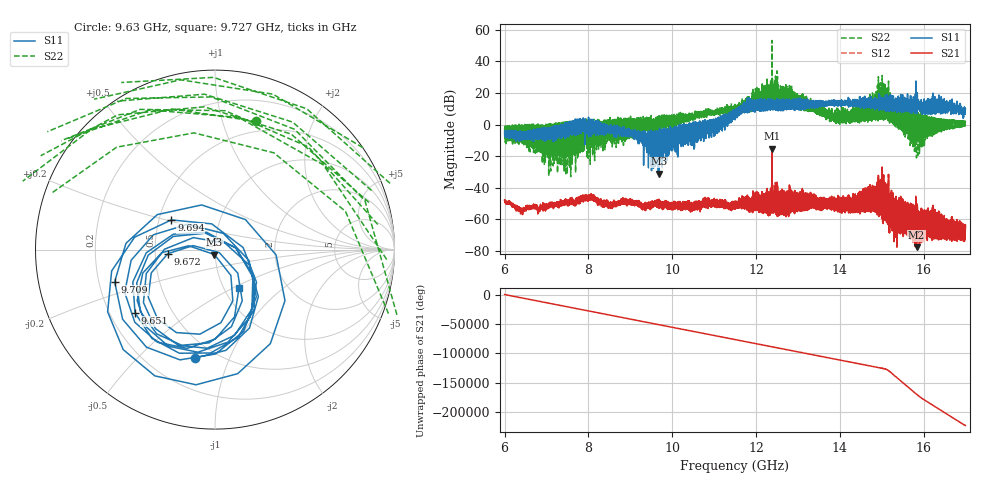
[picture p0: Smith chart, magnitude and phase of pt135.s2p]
#  HZ  S  RI  R  50.00
! Rohde & Schwarz Vector Network Analyzer
! Rohde-Schwarz,ZNA67-2Port,1332450062101215,3.01
! Created: UTC 10/19/2026, 6:01:01 PM
! freq[Hz]  re:S11  im:S11  re:S21  im:S21  re:S12  im:S12  re:S22  im:S22
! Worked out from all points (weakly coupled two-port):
!   11001 points, 6 GHz to 17 GHz, reference 50 ohm
!   highest |S21| = -15.28 dB at 12.38 GHz (marker M1); lowest = -77.7 dB at 15.83 GHz (marker M2)
!   lowest |S11| = -31.1 dB at 9.681 GHz (marker M3), VSWR 1.06, Z = 49.6 - j2.74 ohm
!   |S11| at or under -10 dB: 9.386579 GHz to 9.391344 GHz (4.765 MHz wide, 0.0508 % of centre); 9.398521 GHz to 9.403056 GHz (4.535 MHz wide, 0.0482 % of centre); 9.586574 GHz to 9.591003 GHz (4.429 MHz wide, 0.0462 % of centre) (the widest 3 of 118)
!   |S22| runs from -32.9 to 53.1 dB; largest |S21 - S12| = 0.011
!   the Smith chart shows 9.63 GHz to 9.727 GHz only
!   S11 on the Smith chart (normalised r, x): 9.63 GHz: 0.39, -0.75; 9.651 GHz: 0.31, -0.32; 9.672 GHz: 0.58, -0.03; 9.694 GHz: 0.58, +0.21; 9.709 GHz: 0.27, -0.15; 9.727 GHz: 1.17, -0.54
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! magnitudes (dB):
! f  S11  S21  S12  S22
! 6 GHz  -5.3  -47.8  -47.7  -2.3
! 6.421 GHz  -8.0  -54.3  -54.6  -5.4
! 7.834 GHz  -3.9  -47.7  -47.7  -13.8
! 8.527 GHz  -0.1  -51.2  -51.1  2.5
! 9.63 GHz  -4.2  -50.0  -50.1  -2.5
! 9.651 GHz  -4.9  -48.8  -49.0  1.4
! 9.667 GHz  -7.1  -52.4  -52.6  -2.0
! 9.672 GHz  -11.6  -48.9  -48.9  3.4
! 9.681 GHz  -31.1  -50.0  -50.1  3.6
! 9.694 GHz  -10.6  -48.9  -49.1  4.8
! 9.709 GHz  -4.6  -49.6  -49.9  2.2
! 9.727 GHz  -11.9  -50.6  -50.6  2.8
! 11.04 GHz  4.0  -49.0  -48.9  7.6
! 11.5 GHz  4.1  -53.6  -53.4  9.0
! 11.8 GHz  7.6  -52.5  -52.3  12.8
! 12.38 GHz  10.1  -15.3  -14.8  53.1
! 13.33 GHz  11.6  -51.1  -51.1  10.2
! 13.96 GHz  14.5  -47.4  -47.4  6.8
! 14.81 GHz  12.2  -54.2  -53.9  3.5
! 15.17 GHz  10.7  -60.5  -60.6  3.7
! 15.83 GHz  10.2  -77.7  -77.9  -21.1
! 17 GHz  9.7  -66.4  -66.3  1.5
